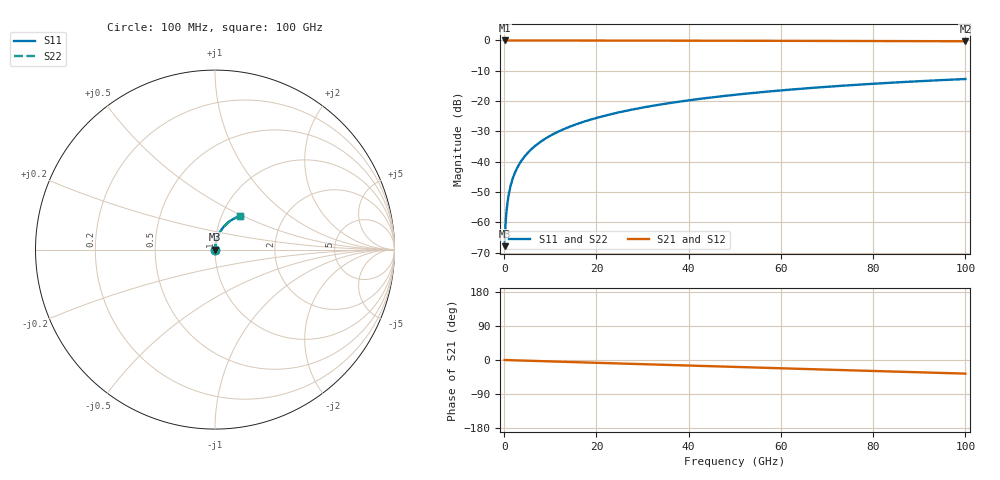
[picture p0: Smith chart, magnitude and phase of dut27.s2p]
! Touchstone file exported from HFSS 2026.1.0
!  File:  C:/ffzhzh/LocalFiles/Ansys_Project_Files/temp_train_TSV_27_1783504525_9504.aedt
!  Generated:  05:56:56 PM Jul  8, 2026
!  Design:  TSV
!  Project:  temp_train_TSV_27_1783504525_9504
! Variables:
!  h_bsmrdl = 2um
!  h_ox = 20um
!  h_rdl = 5um
!  h_sub = 64.27um
!  h_tmrdl = 5um
!  h_tsv = 64.27um
!  h_via = 3um
!  l_bsmrdl = 300um
!  l_sub = 411.22um
!  l_tmrdl = 200um
!  m_sub = 200um
!  pitch = 41.18um
!  r_tsv = 5.61um
!  s_tmrdl = 10um
!  w_bsmrdl = 18um
!  w_sub = 500um
!  w_tmrdl = 12um
!  x_tsv_center1 = 206um
!  x_tsv_center2 = 524um
!  x_tsv_center3 = 736um
!  x_tsv_center4 = 1054um
!  x_tsv_center5 = 1266um
!  x_tsv_center6 = 1584um
# GHz S MA R 50.000000
! Terminal data exported
! Port[1] = TSV1_1_T1
! Port[2] = TSV1_1_T2
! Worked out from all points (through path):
!   1000 points, 100 MHz to 100 GHz, reference 50 ohm
!   highest |S21| = 0.00 dB at 100 MHz (marker M1); lowest = -0.3 dB at 100 GHz (marker M2)
!   group delay of S21, straight-line fit = 999 fs
!   lowest |S11| = -67.9 dB at 100 MHz (marker M3), VSWR 1.00, Z = 50 + j0.0302 ohm
!   |S11| at or under -10 dB: start of sweep to end of sweep
!   |S22| runs from -67.9 to -12.7 dB; largest |S21 - S12| = 6.4e-15
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0.1  0.0004037 48.3  0.9997 -0.0  0.9997 -0.0  0.0004037 48.3
! Gamma 0 0 0 0
! Port Impedance 50 0 50 0
0.4  0.001196 75.3  0.9997 -0.2  0.9997 -0.2  0.001196 75.3
0.7  0.002031 80.6  0.9997 -0.3  0.9997 -0.3  0.002031 80.6
0.8  0.002312 81.5  0.9997 -0.3  0.9997 -0.3  0.002312 81.5
1.1  0.003153 83.1  0.9996 -0.4  0.9996 -0.4  0.003153 83.1
1.4  0.00399 83.8  0.9996 -0.5  0.9996 -0.5  0.00399 83.8
1.9  0.005374 84.4  0.9995 -0.7  0.9995 -0.7  0.005374 84.4
2.4  0.00674 84.7  0.9995 -0.9  0.9995 -0.9  0.00674 84.7
3  0.008361 84.8  0.9994 -1.1  0.9994 -1.1  0.008361 84.8
3.8  0.0105 84.8  0.9993 -1.4  0.9993 -1.4  0.0105 84.8
4.8  0.01315 84.8  0.9991 -1.8  0.9991 -1.8  0.01315 84.8
6  0.01631 84.6  0.999 -2.2  0.999 -2.2  0.01631 84.6
8.8  0.02365 84.1  0.9986 -3.3  0.9986 -3.3  0.02365 84.1
12.4  0.03304 83.2  0.9982 -4.6  0.9982 -4.6  0.03304 83.2
16.8  0.04443 81.8  0.9975 -6.2  0.9975 -6.2  0.04443 81.8
24.2  0.06338 79.5  0.9962 -8.9  0.9962 -8.9  0.06338 79.5
33.4  0.08653 76.3  0.9942 -12.3  0.9942 -12.3  0.08653 76.3
41.2  0.1057 73.6  0.9921 -15.1  0.9921 -15.1  0.1057 73.6
50.1  0.127 70.5  0.9894 -18.3  0.9894 -18.3  0.127 70.5
66.7  0.1648 64.7  0.9834 -24.3  0.9834 -24.3  0.1648 64.8
83.4  0.1998 59.0  0.9767 -30.2  0.9767 -30.2  0.1998 59.0
100  0.2311 53.3  0.9695 -35.9  0.9695 -35.9  0.2311 53.3
